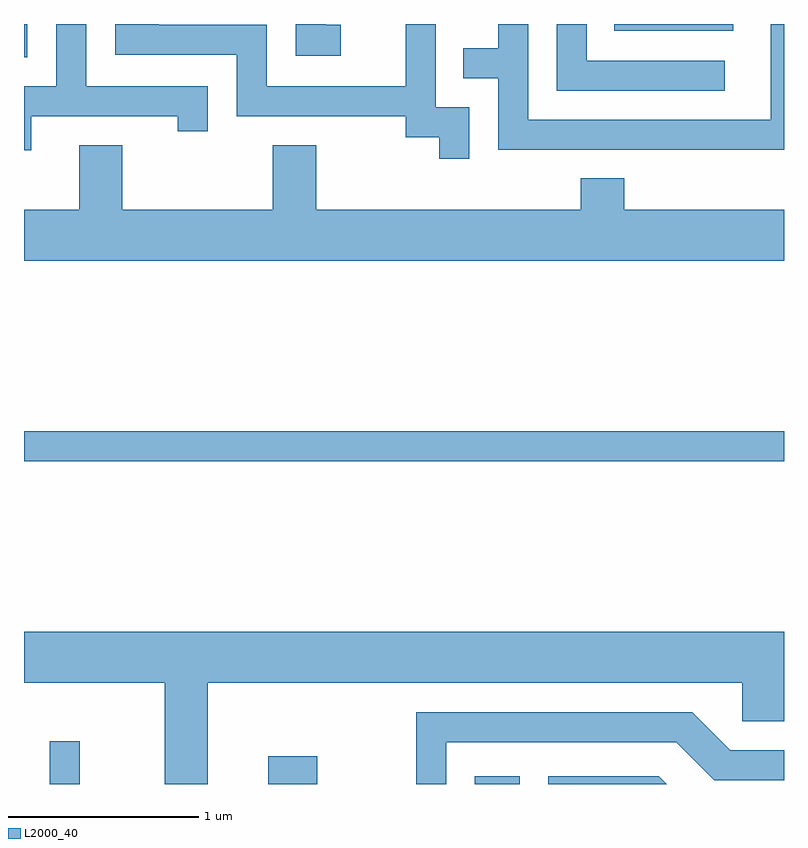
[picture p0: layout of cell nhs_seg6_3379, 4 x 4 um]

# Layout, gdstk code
import gdstk
lib = gdstk.Library(unit=1e-6, precision=1e-09)
def R(c, l, rs):  # rectangles x0, y0, x1, y1
    for r in rs: c.add(gdstk.rectangle(r[:2], r[2:], *l))
def P(c, l, *ps):  # polygons
    for p in ps: c.add(gdstk.Polygon(p, *l))
L2000_40 = (2000, 40)

nhs_seg6_3379 = lib.new_cell('nhs_seg6_3379')
R(nhs_seg6_3379, L2000_40, [(287.746,1556.162,287.904,1556.388), (288.896,1556.162,289.154,1556.309), (289.983,1556.162,290.219,1556.204), (287.611,1557.861,291.611,1558.019), (287.611,1559.986,287.629,1560.162), (290.718,1560.126,291.344,1560.162)])
P(nhs_seg6_3379, L2000_40, [(291.611,1560.162),(291.541,1560.162),(291.541,1559.659),(290.264,1559.659),(290.264,1560.162),(290.106,1560.162),(290.106,1560.034),(289.923,1560.034),(289.923,1559.876),(290.106,1559.876),(290.106,1559.501),(291.611,1559.501)],
  [(289.954,1559.724),(289.779,1559.724),(289.779,1560.162),(289.621,1560.162),(289.621,1559.834),(288.889,1559.834),(288.889,1560.159),(288.319,1560.159),(288.319,1560.162),(288.091,1560.162),(288.091,1560.001),(288.731,1560.001),(288.731,1559.676),(289.621,1559.676),(289.621,1559.566),(289.796,1559.566),(289.796,1559.453),(289.954,1559.453)],
  [(289.278,1560.159),(289.199,1560.159),(289.199,1560.162),(289.041,1560.162),(289.041,1559.996),(289.278,1559.996)],
  [(287.649,1559.676),(288.421,1559.676),(288.421,1559.598),(288.579,1559.598),(288.579,1559.834),(287.939,1559.834),(287.939,1560.162),(287.781,1560.162),(287.781,1559.834),(287.611,1559.834),(287.611,1559.498),(287.649,1559.498)],
  [(291.298,1559.969),(290.574,1559.969),(290.574,1560.162),(290.416,1560.162),(290.416,1559.811),(291.298,1559.811)],
  [(291.611,1559.184),(290.769,1559.184),(290.769,1559.349),(290.541,1559.349),(290.541,1559.184),(289.149,1559.184),(289.149,1559.524),(288.921,1559.524),(288.921,1559.184),(288.129,1559.184),(288.129,1559.524),(287.901,1559.524),(287.901,1559.184),(287.611,1559.184),(287.611,1558.916),(291.611,1558.916)],
  [(288.579,1556.696),(291.391,1556.696),(291.391,1556.491),(291.611,1556.491),(291.611,1556.964),(287.611,1556.964),(287.611,1556.696),(288.351,1556.696),(288.351,1556.162),(288.579,1556.162)],
  [(289.834,1556.381),(291.044,1556.381),(291.244,1556.181),(291.611,1556.181),(291.611,1556.339),(291.327,1556.339),(291.127,1556.539),(289.676,1556.539),(289.676,1556.162),(289.834,1556.162)],
  [(290.952,1556.204),(290.371,1556.204),(290.371,1556.162),(290.994,1556.162)])

lib.write_gds('nhs_seg6_3379.gds')
